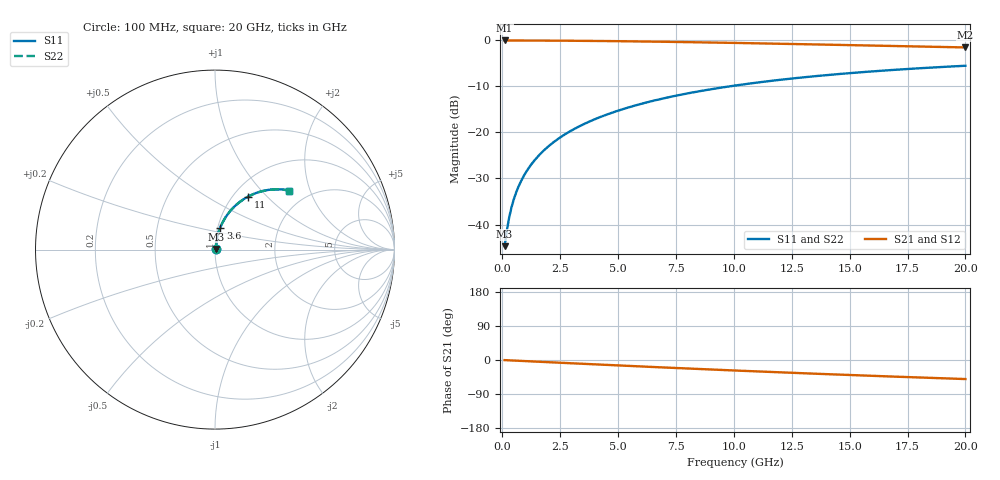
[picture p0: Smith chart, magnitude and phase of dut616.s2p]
! Touchstone file exported from HFSS 2026.1.0
!  File:  C:/ffzhzh/LocalFiles/Ansys_Project_Files/temp_train_BSMRDL_616_1783016327_46388.aedt
!  Generated:  02:20:25 AM Jul  3, 2026
!  Design:  BSMRDL
!  Project:  temp_train_BSMRDL_616_1783016327_46388
! Variables:
!  h_bsmrdl = 3.41um
!  h_ox = 20um
!  h_rdl = 5um
!  h_sub = 80um
!  h_tmrdl = 5um
!  h_tsv = 80um
!  h_via = 3um
!  l_bsmrdl = 691.19um
!  l_sub = 1091.19um
!  l_tmrdl = 200um
!  m_sub = 200um
!  pitch = 55.14um
!  r_tsv = 6um
!  s_tmrdl = 10um
!  w_bsmrdl = 16.46um
!  w_sub = 500um
!  w_tmrdl = 12um
!  x_tsv_center1 = 206um
!  x_tsv_center2 = 913.65um
!  x_tsv_center3 = 1125.65um
!  x_tsv_center4 = 1833.3um
!  x_tsv_center5 = 2045.3um
!  x_tsv_center6 = 2752.95um
# GHz S MA R 50.000000
! Terminal data exported
! Port[1] = BSM_RDL1_1_T1
! Port[2] = BSM_RDL1_1_T2
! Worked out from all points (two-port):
!   200 points, 100 MHz to 20 GHz, reference 50 ohm
!   highest |S21| = -0.04 dB at 100 MHz (marker M1); lowest = -1.6 dB at 20 GHz (marker M2)
!   |S21| within 3 dB of the highest: start of sweep to end of sweep
!   lowest |S11| = -44.7 dB at 100 MHz (marker M3), VSWR 1.01, Z = 50.4 + j0.374 ohm
!   |S11| at or under -10 dB: start of sweep to 9.818 GHz
!   |S22| runs from -44.7 to -5.5 dB; largest |S21 - S12| = 2.6e-15
!   S11 on the Smith chart (normalised r, x): 100 MHz: 1.01, +0.01; 3.6 GHz: 1.03, +0.26; 11 GHz: 1.17, +0.78; 20 GHz: 1.60, +1.46
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0.1  0.005821 39.6  0.9955 -0.3  0.9955 -0.3  0.005821 39.6
! Gamma 0 0 0 0
! Port Impedance 50 0 50 0
0.2  0.008722 57.8  0.9954 -0.6  0.9954 -0.6  0.008722 57.8
0.3  0.01203 66.1  0.9952 -0.9  0.9952 -0.9  0.01203 66.1
0.4  0.01544 70.6  0.9951 -1.2  0.9951 -1.2  0.01544 70.6
0.5  0.01888 73.3  0.9949 -1.5  0.9949 -1.5  0.01888 73.3
0.6  0.02233 75.1  0.9947 -1.8  0.9947 -1.8  0.02233 75.1
0.8  0.02924 77.3  0.9944 -2.4  0.9944 -2.4  0.02924 77.3
1.1  0.03963 78.9  0.9939 -3.2  0.9939 -3.2  0.03963 78.9
1.5  0.05351 79.6  0.993 -4.4  0.993 -4.4  0.05351 79.6
2.1  0.07432 79.4  0.9915 -6.1  0.9915 -6.1  0.07432 79.4
2.7  0.09501 78.5  0.9894 -7.8  0.9894 -7.8  0.09501 78.5
3.5  0.1223 76.9  0.986 -10.1  0.986 -10.1  0.1223 76.8
3.6  0.1257 76.6  0.9856 -10.4  0.9856 -10.4  0.1257 76.6
4.3  0.1491 75.0  0.9819 -12.4  0.9819 -12.4  0.1491 75.0
5  0.1721 73.2  0.9777 -14.3  0.9777 -14.3  0.1721 73.2
6.8  0.2291 68.6  0.9649 -19.3  0.9649 -19.3  0.2291 68.6
8.3  0.2738 64.8  0.9524 -23.2  0.9524 -23.2  0.2738 64.8
10.1  0.3238 60.3  0.9357 -27.9  0.9357 -27.9  0.3238 60.3
11  0.3473 58.1  0.927 -30.1  0.927 -30.1  0.3474 58.1
13.4  0.4052 52.5  0.9026 -35.9  0.9026 -35.9  0.4052 52.4
16.7  0.4733 45.2  0.8687 -43.4  0.8687 -43.4  0.4733 45.1
20  0.5289 38.5  0.8362 -50.3  0.8362 -50.3  0.529 38.3
